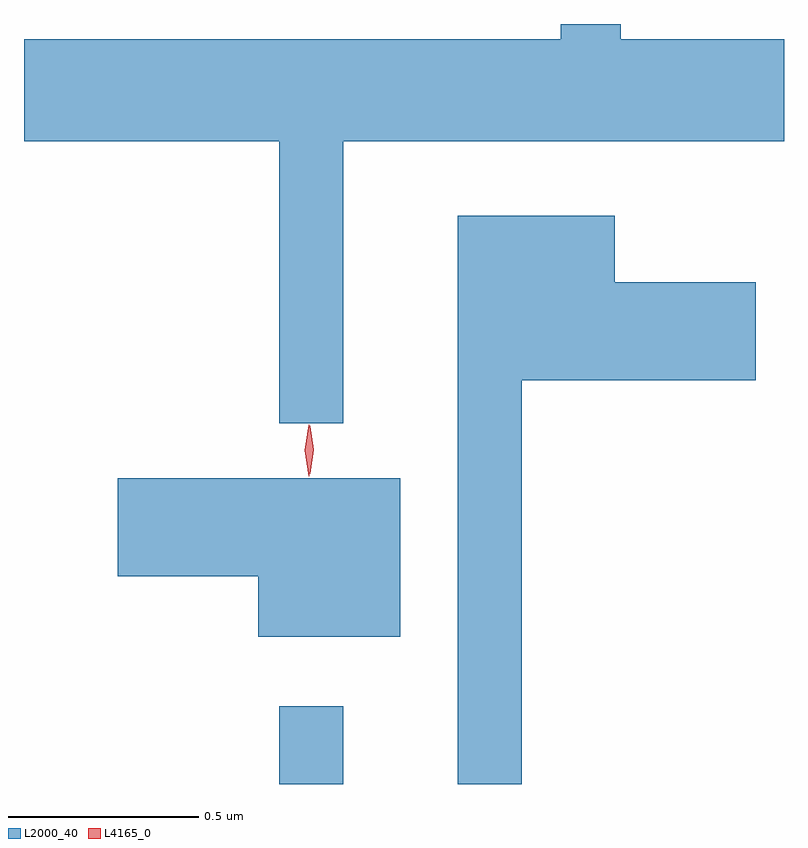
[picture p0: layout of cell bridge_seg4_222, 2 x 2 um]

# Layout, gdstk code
import gdstk
lib = gdstk.Library(unit=1e-6, precision=1e-09)
def R(c, l, rs):  # rectangles x0, y0, x1, y1
    for r in rs: c.add(gdstk.rectangle(r[:2], r[2:], *l))
def P(c, l, *ps):  # polygons
    for p in ps: c.add(gdstk.Polygon(p, *l))
L2000_40 = (2000, 40)
L4165_0 = (4165, 0)

bridge_seg4_222 = lib.new_cell('bridge_seg4_222')
R(bridge_seg4_222, L2000_40, [(1136.281,1264.184,1136.449,1264.388)])
P(bridge_seg4_222, L2000_40, [(1136.449,1265.876),(1137.609,1265.876),(1137.609,1266.144),(1137.179,1266.144),(1137.179,1266.184),(1137.021,1266.184),(1137.021,1266.144),(1135.609,1266.144),(1135.609,1265.876),(1136.281,1265.876),(1136.281,1265.133),(1136.449,1265.133)],
  [(1136.919,1265.246),(1137.534,1265.246),(1137.534,1265.504),(1137.164,1265.504),(1137.164,1265.679),(1136.751,1265.679),(1136.751,1264.184),(1136.919,1264.184)],
  [(1136.599,1264.989),(1135.856,1264.989),(1135.856,1264.731),(1136.226,1264.731),(1136.226,1264.571),(1136.599,1264.571)])
P(bridge_seg4_222, L4165_0, [(1136.361,1265),(1136.352,1265.063),(1136.361,1265.126),(1136.362,1265.127),(1136.362,1265.126),(1136.372,1265.063),(1136.362,1265),(1136.362,1265)],
  [(1136.358,1264.994),(1136.358,1264.994),(1136.348,1265.062),(1136.358,1265.13),(1136.358,1265.13),(1136.359,1265.13),(1136.368,1265.062),(1136.359,1264.994)])

lib.write_gds('bridge_seg4_222.gds')
